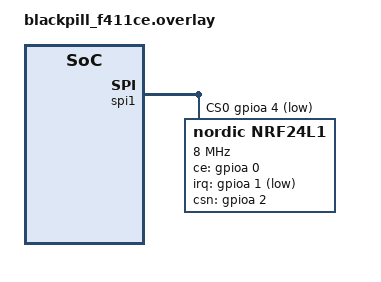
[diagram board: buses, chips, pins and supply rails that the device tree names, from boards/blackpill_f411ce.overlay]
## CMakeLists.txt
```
# SPDX-License-Identifier: Apache-2.0

cmake_minimum_required(VERSION 3.20.0)
#set(BOARD_ROOT "/home/javad/zephyrproject/zephyr/workspace/nrf24l1_api")
find_package(Zephyr REQUIRED HINTS $ENV{ZEPHYR_BASE})
project(nrf24l01_api)
include(${ZEPHYR_BASE}/samples/subsys/usb/common/common.cmake)
FILE(GLOB app_sources src/*.c)
target_sources(app PRIVATE ${app_sources})
```

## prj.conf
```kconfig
CONFIG_RF=y
CONFIG_NORDIC_NRF24L01=y
CONFIG_SPI=y
CONFIG_GPIO=y
CONFIG_LOG=n # Debug is disabled to save space   
CONFIG_LOG_DEFAULT_LEVEL=3
CONFIG_PRINTK=y
CONFIG_NRF24L01_TRIGGER=y
CONFIG_POLL=y
CONFIG_MAIN_STACK_SIZE=3400

###############
CONFIG_STDOUT_CONSOLE=y
CONFIG_USB_DEVICE_STACK=y
CONFIG_DEPRECATION_TEST=y
CONFIG_USB_DEVICE_PRODUCT="Zephyr CDC ACM sample"
CONFIG_USB_DEVICE_PID=0x0001
CONFIG_USB_DRIVER_LOG_LEVEL_ERR=y
CONFIG_USB_DEVICE_LOG_LEVEL_ERR=y
CONFIG_SERIAL=y
CONFIG_UART_INTERRUPT_DRIVEN=y
# CONFIG_UART_LINE_CTRL=y
CONFIG_USB_DEVICE_INITIALIZE_AT_BOOT=n
CONFIG_USB_DEVICE_STACK_NEXT=n
# Modem Pipe
CONFIG_UART_PIPE=y

# Modem subsystem
CONFIG_MODEM_MODULES=y
CONFIG_MODEM_BACKEND_UART=y
CONFIG_MODEM_PIPE=y
```

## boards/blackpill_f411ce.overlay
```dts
&spi1 {
	status = "okay";
	pinctrl-names = "default";
	cs-gpios = <&gpioa 4 GPIO_ACTIVE_LOW>;

	nrf24l1: nrf24l1@0 {
		compatible = "nordic,nrf24l1";
		reg = <0>;
		spi-max-frequency = <8000000>;
		ce-gpios = <&gpioa 0 GPIO_ACTIVE_HIGH>;
		irq-gpios = <&gpioa 1 GPIO_ACTIVE_LOW>;
        csn-gpios = <&gpioa 2 GPIO_ACTIVE_HIGH>;
		
		addr-width = <4>;

        channel-frequency = <16>;
		rf-power-attenuation = <18>;
		lna-gain;
		tx-address = [e7 e7 e7 e7];
		rx-datapipes-number = <2>;
		rx-datapipe0-address = [e7 e7 e7 e7];
		rx-datapipe1-address = [de ad de ad];
		payload-fixed-size = <32>;
		payload-ack;
		payload-crc;
	};
};
```

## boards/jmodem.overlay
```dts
&spi1 {
	pinctrl-0 = <&spi1_sck_master_pa5 &spi1_miso_master_pa6 &spi1_mosi_master_pa7>;
	pinctrl-names = "default";
	cs-gpios = <&gpioa 4 GPIO_ACTIVE_LOW>;
	clock-frequency = <8000000>;// Max 8 Mbps for SPI
	status = "okay";
	
	nrf24l1: nrf24@0 {
		reg = <0>;
		addr-width = <4>;
		compatible = "nordic,nrf24l01";
		status = "okay";
		spi-max-frequency = <500000>;// This really sets frequency
		ce-gpios = <&gpiob 0 GPIO_ACTIVE_HIGH>;
		irq-gpios = <&gpioa 3 GPIO_ACTIVE_LOW>;
		channel-frequency = <90>;
		rf-power-attenuation = <0>;
		lna-gain;
		tx-address = [e7 e7 e7 e7];
		payload-fixed-size = <32>;
		rx-datapipes-number = <2>;
		rx-datapipe0-address = [e7 e7 e7 e7];
		rx-datapipe1-address = [de ad de ad];
		payload-ack;
		payload-crc;
	};
};

&zephyr_udc0 {
	cdc_acm_uart0 {
		compatible = "zephyr,cdc-acm-uart";
	};
};
```

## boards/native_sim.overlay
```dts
&spi0 {
    status = "okay";
	cs-gpios = <&gpio0 4 GPIO_ACTIVE_LOW>;

    nrf24l1:nrf24l1@0{
        compatible = "nordic,nrf24l1";
        reg = <0x0>;
        spi-max-frequency = <80000000>;
		addr-width = <4>;

        ce-gpios = <&gpio0 1 GPIO_ACTIVE_HIGH>;
        irq-gpios = <&gpio0 2 GPIO_ACTIVE_HIGH>;
        csn-gpios = <&gpio0 3 GPIO_ACTIVE_HIGH>;

        channel-frequency = <16>;
		rf-power-attenuation = <18>;
		lna-gain;
		tx-address = [e7 e7 e7 e7];
		rx-datapipes-number = <2>;
		rx-datapipe0-address = [e7 e7 e7 e7];
		rx-datapipe1-address = [de ad de ad];
		payload-fixed-size = <32>;
		payload-ack;
		payload-crc;
    };
		
};
```

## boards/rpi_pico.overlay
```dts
&spi0 {
        pinctrl-0 = <&spi0_default>;
        pinctrl-names = "default";
        cs-gpios = <&gpio0 4 GPIO_ACTIVE_LOW>;
        clock-frequency = <8000000>; // Max 8 Mbps for SPI
        status = "okay";

        nrf24l1: nrf24@0 {
                reg = <0>;
                addr-width = <4>;
                compatible = "nordic,nrf24l01";
                status = "okay";
                spi-max-frequency = <500000>; // This really sets frequency
                ce-gpios = <&gpio0 3 GPIO_ACTIVE_HIGH>;
                irq-gpios = <&gpio0 2 GPIO_ACTIVE_LOW>;
                channel-frequency = <16>;
                rf-power-attenuation = <18>;
                lna-gain;
                tx-address = [e7 e7 e7 e7];
                payload-fixed-size = <32>;
                rx-datapipes-number = <2>;
                rx-datapipe0-address = [e7 e7 e7 e7];
                rx-datapipe1-address = [de ad de ad];
                payload-ack;
                payload-crc;
        };
};
```

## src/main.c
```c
/*
 * Copyright (c) 2012-2014 Wind River Systems, Inc.
 *
 * SPDX-License-Identifier: Apache-2.0
 */

#include <stdio.h>
#include <zephyr/kernel.h>
#include <zephyr/drivers/rf/rf.h>
#include <zephyr/devicetree.h>
#include <zephyr/device.h>
#include <zephyr/logging/log.h>
#include <zephyr/drivers/gpio.h>
#include <string.h>
#include <zephyr/drivers/uart.h>
#include <zephyr/kernel.h>
#include <zephyr/sys/ring_buffer.h>

#include <zephyr/usb/usb_device.h>
#include <zephyr/logging/log.h>
#include "modem_pipe.h"
#include "modem_radio.h"
#include "modem_led.h"
#include "common.h"
LOG_MODULE_REGISTER(nrf24l1_radio);
/////////////////

#define TEST
///////////// USB CCM ////////////
const struct device *const uart_dev = DEVICE_DT_GET_ONE(zephyr_cdc_acm_uart);

///////////// LED ///////////////
#define LED0_NODE DT_ALIAS(led0)
static const struct gpio_dt_spec led = GPIO_DT_SPEC_GET(LED0_NODE, gpios);

//////////// RF PHY /////////////
#define DEFAULT_RADIO_NODE DT_NODELABEL(nrf24l1)
BUILD_ASSERT(DT_NODE_HAS_STATUS_OKAY(DEFAULT_RADIO_NODE),
             "No default RF radio specified in DT");

const struct device *const nrf_dev = DEVICE_DT_GET(DEFAULT_RADIO_NODE);


int main(void)
{
    int ret = 0;
    k_poll_signal_init(&signal);

    ret = led_init(&led);
    if(ret)
    {
        LOG_ERR("Failed to init LED: %d", ret);
        return ret;
    }
    ring_buf_init(&ringbuf, sizeof(ring_buffer), ring_buffer);

    // Config radio PHY
    ret = radio_init(nrf_dev);
    if(ret)
    {
        LOG_ERR("Failed to init Radio PHY: %d", ret);
        return ret;
    }
    // Configure pipe
    ret = jmodem_pipe_init(uart_dev);
    if(ret)
    {
        LOG_ERR("Unable to init pip: %d", ret);
    }

    struct k_poll_event events[1] = {
        K_POLL_EVENT_INITIALIZER(K_POLL_TYPE_SIGNAL,
        K_POLL_MODE_NOTIFY_ONLY,
        &signal),
    };
    for(;;)
    {
        k_poll(events, 1, K_FOREVER);

        int signaled, result;

        k_poll_signal_check(&signal, &signaled, &result);

        if (signaled && (result == 0)) {
            gpio_pin_toggle_dt(&led);
            // A-OK!
        } else {
            // weird error
        }
        k_poll_signal_reset(&signal);
        events[0].state = K_POLL_STATE_NOT_READY;
        // k_sleep(K_FOREVER);

    }

}
```

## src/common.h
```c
#ifndef __COMMON_H_
#define __COMMON_H_

#include <stdint.h>
#include <string.h>
#include <zephyr/modem/backend/uart.h>
#include <zephyr/modem/pipe.h>
#define UART_RX_BUF_SIZE    128
#define UART_TX_BUF_SIZE    128
#define CONSOLE_RX_BUF_SIZE 128
#define RF_SPI_BUF_SIZE     32
#define RING_BUF_SIZE       3072

struct modem_data {
    struct {
        uint8_t uart_rx[UART_RX_BUF_SIZE];
        uint8_t uart_tx[UART_TX_BUF_SIZE];
    } buffers;

    struct modem_backend_uart uart_backend;
    struct modem_pipe *uart_pipe;
};

struct msgq_data_item_t {
    uint8_t buf[CONSOLE_RX_BUF_SIZE];
    size_t len;
};


extern struct modem_data data;
extern struct ring_buf ringbuf;
extern uint8_t ring_buffer[RING_BUF_SIZE];
extern struct k_poll_signal signal;

#endif //__COMMON_H_
```

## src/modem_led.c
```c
#include "modem_led.h"
LOG_MODULE_DECLARE(nrf24l1_radio, CONFIG_KERNEL_LOG_LEVEL);

int led_init(const struct gpio_dt_spec *const pled_dev)
{
    int ret = 0;
    if (!gpio_is_ready_dt(pled_dev)) {
        LOG_INF("LED init problem");
        return 0;
    }
    ret = gpio_pin_configure_dt(pled_dev, GPIO_OUTPUT_ACTIVE);

    if (ret < 0) {
        LOG_INF("LED configure Probelem");
        return 0;
    }
    gpio_pin_set_dt(pled_dev, GPIO_OUTPUT_HIGH);

    return ret;
}
```

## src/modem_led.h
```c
#ifndef __MODEM_LED_H_
#define __MODEM_LED_H_
#include <stdio.h>
#include <zephyr/kernel.h>
#include <zephyr/device.h>
#include <zephyr/logging/log.h>
#include <zephyr/drivers/gpio.h>

int led_init(const struct gpio_dt_spec *const pled_dev);

#endif //__MODEM_LED_H_
```

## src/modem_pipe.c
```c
#include "common.h"
#include "modem_pipe.h"
#include <zephyr/usb/usb_device.h>
#include <zephyr/logging/log.h>
LOG_MODULE_REGISTER(nrf24l1_radio_pipe);


uint8_t ring_buffer[RING_BUF_SIZE];

struct ring_buf ringbuf;
/* Buffers for modem backend */

struct modem_data data;

/********* EVENT HANDLER *********/

/* Callback when modem pipe receives data */
static void modem_pipe_event_handler(struct modem_pipe *pipe, enum modem_pipe_event event,
                                     void *user_data)
{
    uint8_t buf[CONSOLE_RX_BUF_SIZE] = {0};
    int ret;
    int rb_len;

    switch (event) {
    case MODEM_PIPE_EVENT_RECEIVE_READY:
        /* Read from modem pipe and send directly to console */
        do {
            ret = modem_pipe_receive(pipe, buf, sizeof(buf));

            if (ret > 0) {
                rb_len = ring_buf_put(&ringbuf, buf, ret);
                if (rb_len < ret) {
                    LOG_ERR("Drop %u bytes", ret - rb_len);
                }
                // printk("wrote\r\n");



            }
        } while (ret > 0);

        break;

    case MODEM_PIPE_EVENT_TRANSMIT_IDLE:
    {

        /* Can send more data if available */
    }
    break;

    default:
        break;
    }
}


/***
 * Init usb modem pipe
 */
int jmodem_pipe_init(const struct device *const usb_uart_dev)
{
    int ret = 0;

    if(!usb_uart_dev)
        return -EINVAL;

    /* Verify modem device is ready */
    if (!device_is_ready(usb_uart_dev)) {
        LOG_ERR("Modem device not ready");
        return -ENODEV;
    }


    ret = usb_enable(NULL);
    if (ret != 0) {
        LOG_ERR("Failed to enable USB");
        return ret;
    }

    init_modem_pipe(usb_uart_dev);
    return ret;

}

int init_modem_pipe(const struct device *const usb_uart_dev)
{
    int ret;

    const struct modem_backend_uart_config uart_backend_config = {
        .uart = usb_uart_dev,
        .receive_buf = data.buffers.uart_rx,
        .receive_buf_size = sizeof(data.buffers.uart_rx),
        .transmit_buf = data.buffers.uart_tx,
        .transmit_buf_size = sizeof(data.buffers.uart_tx),
    };

    data.uart_pipe = modem_backend_uart_init(&data.uart_backend, &uart_backend_config);
    if (data.uart_pipe == NULL) {
        LOG_ERR("Failed to initialize modem backend");
        return -1;
    }

    modem_pipe_attach(data.uart_pipe, modem_pipe_event_handler, &data);

    ret = modem_pipe_open(data.uart_pipe, K_MSEC(100));
    if (ret < 0) {
        LOG_ERR("Failed to open modem pipe");
        return ret;
    }

    LOG_INF("Modem pipe initialized and opened");
    return 0;
}
```

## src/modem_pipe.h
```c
#ifndef __MODEM_PIPE_H_
#define __MODEM_PIPE_H_
#include <zephyr/device.h>
#include <zephyr/drivers/uart.h>
#include <zephyr/kernel.h>

int jmodem_pipe_init(const struct device *const usb_uart_dev);
int init_modem_pipe(const struct device *const usb_uart_dev);

#endif //__MODEM_PIPE_H_
```

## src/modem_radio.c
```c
#include "modem_radio.h"
#include "common.h"
#include <zephyr/logging/log.h>

LOG_MODULE_DECLARE(nrf24l1_radio, CONFIG_KERNEL_LOG_LEVEL);


struct k_poll_signal signal;


void recv_async_cb(const struct device *dev, uint8_t *rfdata, uint16_t size)
{
    LOG_INF("[Remote]: Async Received data: %s", rfdata);
    modem_pipe_transmit(data.uart_pipe, rfdata, size);

}

void rf_send_cb(void *nrf_dev, void *, void*)
{
    LOG_INF("Thread is alive!");
    char buffer[RF_SPI_BUF_SIZE] = {0};
    const struct device *const pnrf_dev =(const struct device *const )nrf_dev;
    for(;;)
    {
        int rb_len = ring_buf_get(&ringbuf, buffer, sizeof(buffer));

        if(rb_len)
        {
            rf_send_async(pnrf_dev, buffer, rb_len, &signal);
        }
        else {
            radio_listen(pnrf_dev);

        }

    }
}

/* TX Thread */
#define TX_STACK_SIZE   1024
#define TX_THREAD_PRIO  6
K_THREAD_STACK_DEFINE(tx_thread_stack, TX_STACK_SIZE);

struct k_thread tx_thread_data;


int radio_init(const struct device *const pnrf_dev)
{
    int ret = 0;
    if (!device_is_ready(pnrf_dev)) {
        LOG_ERR("%s Device not ready", pnrf_dev->name);
        return -1;
    }
    LOG_INF("%s is ready to use.\n", pnrf_dev->name);
    k_tid_t tx_tid = k_thread_create(&tx_thread_data, tx_thread_stack,
                                     K_THREAD_STACK_SIZEOF(tx_thread_stack),
                                     rf_send_cb,
                                     (void*)pnrf_dev, NULL, NULL,
                                     TX_THREAD_PRIO, 0, K_NO_WAIT);
    UNUSED(tx_tid);
    ret = rf_recv_async(pnrf_dev, &recv_async_cb);
    return ret;
}

inline int radio_listen(const struct device *const pnrf_dev)
{
    return rf_recv_async(pnrf_dev, &recv_async_cb);
}
```

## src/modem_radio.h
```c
#ifndef __MODEM_RADIO_H_
#define __MODEM_RADIO_H_
#include <zephyr/kernel.h>
#include <zephyr/drivers/rf/rf.h>
#include <zephyr/devicetree.h>
#include <zephyr/device.h>

int radio_init(const struct device *const pnrf_dev);
int radio_listen(const struct device *const pnrf_dev);
#endif //__MODEM_RADIO_H_
```
